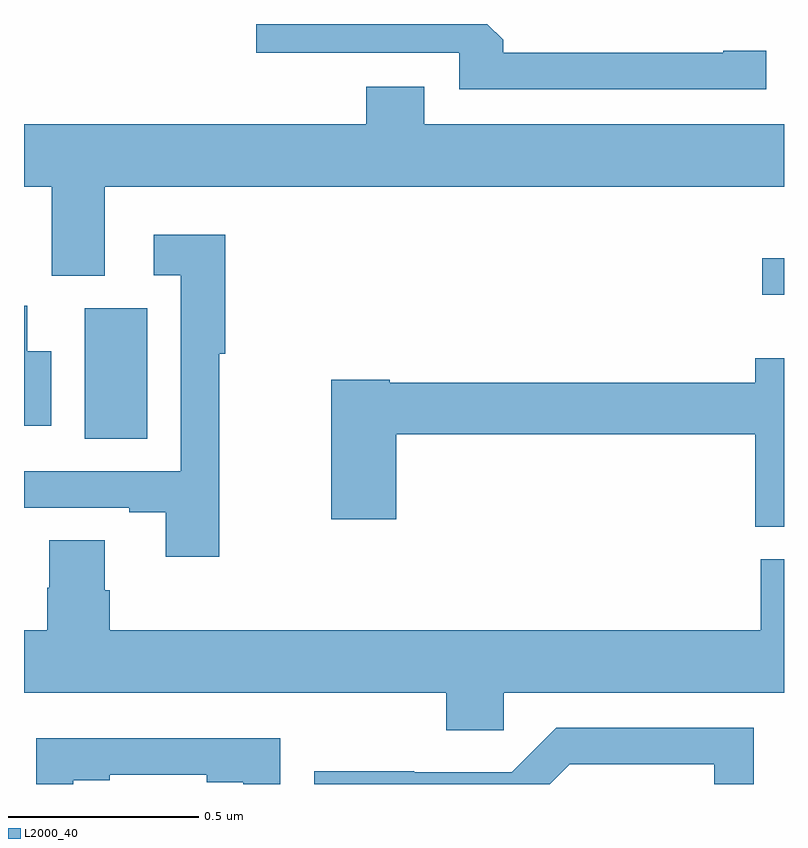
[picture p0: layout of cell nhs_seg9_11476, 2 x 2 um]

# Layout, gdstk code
import gdstk
lib = gdstk.Library(unit=1e-6, precision=1e-09)
def R(c, l, rs):  # rectangles x0, y0, x1, y1
    for r in rs: c.add(gdstk.rectangle(r[:2], r[2:], *l))
def P(c, l, *ps):  # polygons
    for p in ps: c.add(gdstk.Polygon(p, *l))
L2000_40 = (2000, 40)

nhs_seg9_11476 = lib.new_cell('nhs_seg9_11476')
R(nhs_seg9_11476, L2000_40, [(256.16,1210.408,256.324,1210.752), (257.943,1210.788,258,1210.884)])
P(nhs_seg9_11476, L2000_40, [(257.953,1211.429),(257.84,1211.429),(257.84,1211.424),(257.261,1211.424),(257.261,1211.458),(257.219,1211.5),(256.611,1211.5),(256.611,1211.424),(257.145,1211.424),(257.145,1211.328),(257.953,1211.328)],
  [(256.901,1211.335),(256.901,1211.236),(256,1211.236),(256,1211.072),(256.073,1211.072),(256.073,1210.837),(256.213,1210.837),(256.213,1211.072),(258,1211.072),(258,1211.236),(257.053,1211.236),(257.053,1211.335)],
  [(256.514,1210.632),(256.529,1210.632),(256.529,1210.945),(256.341,1210.945),(256.341,1210.839),(256.413,1210.839),(256.413,1210.323),(256,1210.323),(256,1210.227),(256.277,1210.227),(256.277,1210.215),(256.373,1210.215),(256.373,1210.098),(256.514,1210.098)],
  [(256.072,1210.639),(256.009,1210.639),(256.009,1210.758),(256,1210.758),(256,1210.443),(256.072,1210.443)],
  [(258,1210.621),(257.924,1210.621),(257.924,1210.556),(256.962,1210.556),(256.962,1210.564),(256.808,1210.564),(256.808,1210.197),(256.979,1210.197),(256.979,1210.42),(257.924,1210.42),(257.924,1210.177),(258,1210.177)],
  [(257.111,1209.642),(257.262,1209.642),(257.262,1209.74),(258,1209.74),(258,1210.092),(257.939,1210.092),(257.939,1209.904),(256.226,1209.904),(256.226,1210.01),(256.213,1210.01),(256.213,1210.142),(256.066,1210.142),(256.066,1210.017),(256.061,1210.017),(256.061,1209.904),(256,1209.904),(256,1209.74),(257.111,1209.74)],
  [(257.436,1209.552),(257.816,1209.552),(257.816,1209.5),(257.92,1209.5),(257.92,1209.648),(257.4,1209.648),(257.283,1209.531),(257.027,1209.531),(257.027,1209.533),(256.764,1209.533),(256.764,1209.5),(257.384,1209.5)],
  [(256.129,1209.51),(256.225,1209.51),(256.225,1209.525),(256.481,1209.525),(256.481,1209.505),(256.577,1209.505),(256.577,1209.5),(256.674,1209.5),(256.674,1209.621),(256.032,1209.621),(256.032,1209.5),(256.129,1209.5)])

lib.write_gds('nhs_seg9_11476.gds')
